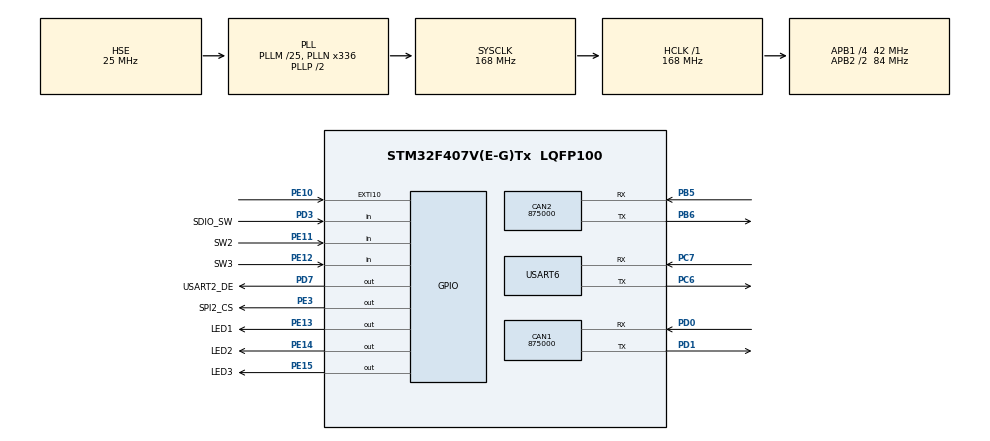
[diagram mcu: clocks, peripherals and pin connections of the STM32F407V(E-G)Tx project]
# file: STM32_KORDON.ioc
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CAN1.CalculateBaudRate=875000
CAN1.CalculateTimeBit=1142
CAN1.CalculateTimeQuantum=380.95238095238096
CAN2.CalculateBaudRate=875000
CAN2.CalculateTimeBit=1142
CAN2.CalculateTimeQuantum=380.95238095238096
Mcu.Family=STM32F4
Mcu.Name=STM32F407V(E-G)Tx
Mcu.Package=LQFP100
NVIC.EXTI15_10_IRQn=true\:0\:0\:false\:false\:true\:true\:true\:true
NVIC.PriorityGroup=NVIC_PRIORITYGROUP_4
NVIC.USART6_IRQn=true\:0\:0\:false\:false\:true\:true\:true\:true
PA10.Signal=USART1_RX
PA11.Signal=USB_OTG_FS_DM
PA12.Signal=USB_OTG_FS_DP
PA13.Mode=Serial_Wire
PA13.Signal=SYS_JTMS-SWDIO
PA14.Mode=Serial_Wire
PA14.Signal=SYS_JTCK-SWCLK
PA9.Signal=USART1_TX
PB10.Signal=SPI2_SCK
PB14.Signal=USB_OTG_HS_DM
PB15.Signal=USB_OTG_HS_DP
PB5.Mode=CAN_Activate
PB5.Signal=CAN2_RX
PB6.Mode=CAN_Activate
PB6.Signal=CAN2_TX
PB8.Signal=I2C1_SCL
PB9.Signal=I2C1_SDA
PC10.Signal=SDIO_D2
PC11.Signal=SDIO_D3
PC12.Signal=SDIO_CK
PC2.Signal=SPI2_MISO
PC3.Signal=SPI2_MOSI
PC6.Mode=Asynchronous
PC6.Signal=USART6_TX
PC7.Mode=Asynchronous
PC7.Signal=USART6_RX
PC8.Signal=SDIO_D0
PC9.Signal=SDIO_D1
PD0.Mode=CAN_Activate
PD0.Signal=CAN1_RX
PD1.Mode=CAN_Activate
PD1.Signal=CAN1_TX
PD2.Signal=SDIO_CMD
PD3.GPIO_Label=SDIO_SW
PD3.Signal=GPIO_Input
PD5.Signal=USART2_TX
PD6.Signal=USART2_RX
PD7.GPIO_Label=USART2_DE
PD7.Signal=GPIO_Output
PE10.GPIO_ModeDefaultEXTI=GPIO_MODE_IT_FALLING
PE10.Signal=GPXTI10
PE11.GPIO_Label=SW2
PE11.Signal=GPIO_Input
PE12.GPIO_Label=SW3
PE12.Signal=GPIO_Input
PE13.GPIO_Label=LED1
PE13.PinState=GPIO_PIN_SET
PE13.Signal=GPIO_Output
PE14.GPIO_Label=LED2
PE14.PinState=GPIO_PIN_SET
PE14.Signal=GPIO_Output
PE15.GPIO_Label=LED3
PE15.PinState=GPIO_PIN_SET
PE15.Signal=GPIO_Output
PE3.GPIO_Label=SPI2_CS
PE3.Signal=GPIO_Output
PH0-OSC_IN.Mode=HSE-External-Oscillator
PH0-OSC_IN.Signal=RCC_OSC_IN
PH1-OSC_OUT.Mode=HSE-External-Oscillator
PH1-OSC_OUT.Signal=RCC_OSC_OUT
ProjectManager.HeapSize=0x200
ProjectManager.StackSize=0x400
ProjectManager.TargetToolchain=STM32CubeIDE
RCC.48MHZClocksFreq_Value=48000000
RCC.AHBFreq_Value=168000000
RCC.APB1CLKDivider=RCC_HCLK_DIV4
RCC.APB1Freq_Value=42000000
RCC.APB1TimFreq_Value=84000000
RCC.APB2CLKDivider=RCC_HCLK_DIV2
RCC.APB2Freq_Value=84000000
RCC.APB2TimFreq_Value=168000000
RCC.CortexFreq_Value=168000000
RCC.HCLKFreq_Value=168000000
RCC.HSE_VALUE=25000000
RCC.HSI_VALUE=16000000
RCC.LSE_VALUE=32768
RCC.PLLM=25
RCC.PLLN=336
RCC.PLLQ=7
RCC.PLLSourceVirtual=RCC_PLLSOURCE_HSE
RCC.SYSCLKFreq_VALUE=168000000
RCC.SYSCLKSource=RCC_SYSCLKSOURCE_PLLCLK
RCC.VCOOutputFreq_Value=336000000
USART6.VirtualMode=VM_ASYNC
board=custom

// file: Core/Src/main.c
/* USER CODE BEGIN Header */
/**
  ******************************************************************************
  * @file           : main.c
  * @brief          : Main program body
  ******************************************************************************
  * @attention
  *
  * Copyright (c) 2026 STMicroelectronics.
  * All rights reserved.
  *
  * This software is licensed under terms that can be found in the LICENSE file
  * in the root directory of this software component.
  * If no LICENSE file comes with this software, it is provided AS-IS.
  *
  ******************************************************************************
  */
/* USER CODE END Header */
#include "main.h"

/* USER CODE BEGIN Includes */

#include <stdio.h>

/* USER CODE END Includes */

CAN_HandleTypeDef hcan1;
CAN_HandleTypeDef hcan2;

UART_HandleTypeDef huart6;

/* USER CODE BEGIN PV */

uint8_t incoming_data;

/* USER CODE END PV */

void SystemClock_Config(void);
static void MX_GPIO_Init(void);
static void MX_CAN1_Init(void);
static void MX_CAN2_Init(void);
static void MX_USART6_UART_Init(void);

int main(void)
{

  /* MCU Configuration--------------------------------------------------------*/

  /* Reset of all peripherals, Initializes the Flash interface and the Systick. */
  HAL_Init();

  /* Configure the system clock */
  SystemClock_Config();

  /* Initialize all configured peripherals */
  MX_GPIO_Init();
  MX_CAN1_Init();
  MX_CAN2_Init();
  MX_USART6_UART_Init();
  /* USER CODE BEGIN 2 */

 HAL_UART_Receive_IT(&huart6, &incoming_data, 1);

  /* USER CODE END 2 */

  /* Infinite loop */
  while (1)
  {

  }
}

void SystemClock_Config(void)
{
  RCC_OscInitTypeDef RCC_OscInitStruct = {0};
  RCC_ClkInitTypeDef RCC_ClkInitStruct = {0};

  /** Configure the main internal regulator output voltage
  */
  __HAL_RCC_PWR_CLK_ENABLE();
  __HAL_PWR_VOLTAGESCALING_CONFIG(PWR_REGULATOR_VOLTAGE_SCALE1);

  /** Initializes the RCC Oscillators according to the specified parameters
  * in the RCC_OscInitTypeDef structure.
  */
  RCC_OscInitStruct.OscillatorType = RCC_OSCILLATORTYPE_HSE;
  RCC_OscInitStruct.HSEState = RCC_HSE_ON;
  RCC_OscInitStruct.PLL.PLLState = RCC_PLL_ON;
  RCC_OscInitStruct.PLL.PLLSource = RCC_PLLSOURCE_HSE;
  RCC_OscInitStruct.PLL.PLLM = 25;
  RCC_OscInitStruct.PLL.PLLN = 336;
  RCC_OscInitStruct.PLL.PLLP = RCC_PLLP_DIV2;
  RCC_OscInitStruct.PLL.PLLQ = 7;
  if (HAL_RCC_OscConfig(&RCC_OscInitStruct) != HAL_OK)
  {
    Error_Handler();
  }

  /** Initializes the CPU, AHB and APB buses clocks
  */
  RCC_ClkInitStruct.ClockType = RCC_CLOCKTYPE_HCLK|RCC_CLOCKTYPE_SYSCLK
                              |RCC_CLOCKTYPE_PCLK1|RCC_CLOCKTYPE_PCLK2;
  RCC_ClkInitStruct.SYSCLKSource = RCC_SYSCLKSOURCE_PLLCLK;
  RCC_ClkInitStruct.AHBCLKDivider = RCC_SYSCLK_DIV1;
  RCC_ClkInitStruct.APB1CLKDivider = RCC_HCLK_DIV4;
  RCC_ClkInitStruct.APB2CLKDivider = RCC_HCLK_DIV2;

  if (HAL_RCC_ClockConfig(&RCC_ClkInitStruct, FLASH_LATENCY_5) != HAL_OK)
  {
    Error_Handler();
  }
}

static void MX_CAN1_Init(void)
{

  hcan1.Instance = CAN1;
  hcan1.Init.Prescaler = 16;
  hcan1.Init.Mode = CAN_MODE_NORMAL;
  hcan1.Init.SyncJumpWidth = CAN_SJW_1TQ;
  hcan1.Init.TimeSeg1 = CAN_BS1_1TQ;
  hcan1.Init.TimeSeg2 = CAN_BS2_1TQ;
  hcan1.Init.TimeTriggeredMode = DISABLE;
  hcan1.Init.AutoBusOff = DISABLE;
  hcan1.Init.AutoWakeUp = DISABLE;
  hcan1.Init.AutoRetransmission = DISABLE;
  hcan1.Init.ReceiveFifoLocked = DISABLE;
  hcan1.Init.TransmitFifoPriority = DISABLE;
  if (HAL_CAN_Init(&hcan1) != HAL_OK)
  {
    Error_Handler();
  }

}

static void MX_CAN2_Init(void)
{

  hcan2.Instance = CAN2;
  hcan2.Init.Prescaler = 16;
  hcan2.Init.Mode = CAN_MODE_NORMAL;
  hcan2.Init.SyncJumpWidth = CAN_SJW_1TQ;
  hcan2.Init.TimeSeg1 = CAN_BS1_1TQ;
  hcan2.Init.TimeSeg2 = CAN_BS2_1TQ;
  hcan2.Init.TimeTriggeredMode = DISABLE;
  hcan2.Init.AutoBusOff = DISABLE;
  hcan2.Init.AutoWakeUp = DISABLE;
  hcan2.Init.AutoRetransmission = DISABLE;
  hcan2.Init.ReceiveFifoLocked = DISABLE;
  hcan2.Init.TransmitFifoPriority = DISABLE;
  if (HAL_CAN_Init(&hcan2) != HAL_OK)
  {
    Error_Handler();
  }

}

static void MX_USART6_UART_Init(void)
{

  huart6.Instance = USART6;
  huart6.Init.BaudRate = 115200;
  huart6.Init.WordLength = UART_WORDLENGTH_8B;
  huart6.Init.StopBits = UART_STOPBITS_1;
  huart6.Init.Parity = UART_PARITY_NONE;
  huart6.Init.Mode = UART_MODE_TX_RX;
  huart6.Init.HwFlowCtl = UART_HWCONTROL_NONE;
  huart6.Init.OverSampling = UART_OVERSAMPLING_16;
  if (HAL_UART_Init(&huart6) != HAL_OK)
  {
    Error_Handler();
  }

}

static void MX_GPIO_Init(void)
{
  GPIO_InitTypeDef GPIO_InitStruct = {0};

  /* GPIO Ports Clock Enable */
  __HAL_RCC_GPIOE_CLK_ENABLE();
  __HAL_RCC_GPIOH_CLK_ENABLE();
  __HAL_RCC_GPIOC_CLK_ENABLE();
  __HAL_RCC_GPIOB_CLK_ENABLE();
  __HAL_RCC_GPIOA_CLK_ENABLE();
  __HAL_RCC_GPIOD_CLK_ENABLE();

  /*Configure GPIO pin Output Level */
  HAL_GPIO_WritePin(SPI2_CS_GPIO_Port, SPI2_CS_Pin, GPIO_PIN_RESET);

  /*Configure GPIO pin Output Level */
  HAL_GPIO_WritePin(GPIOE, LED1_Pin|LED2_Pin|LED3_Pin, GPIO_PIN_SET);

  /*Configure GPIO pin Output Level */
  HAL_GPIO_WritePin(USART2_DE_GPIO_Port, USART2_DE_Pin, GPIO_PIN_RESET);

  /*Configure GPIO pins : SPI2_CS_Pin LED1_Pin LED2_Pin LED3_Pin */
  GPIO_InitStruct.Pin = SPI2_CS_Pin|LED1_Pin|LED2_Pin|LED3_Pin;
  GPIO_InitStruct.Mode = GPIO_MODE_OUTPUT_PP;
  GPIO_InitStruct.Pull = GPIO_NOPULL;
  GPIO_InitStruct.Speed = GPIO_SPEED_FREQ_LOW;
  HAL_GPIO_Init(GPIOE, &GPIO_InitStruct);

  /*Configure GPIO pins : PC2 PC3 */
  GPIO_InitStruct.Pin = GPIO_PIN_2|GPIO_PIN_3;
  GPIO_InitStruct.Mode = GPIO_MODE_AF_PP;
  GPIO_InitStruct.Pull = GPIO_NOPULL;
  GPIO_InitStruct.Speed = GPIO_SPEED_FREQ_VERY_HIGH;
  GPIO_InitStruct.Alternate = GPIO_AF5_SPI2;
  HAL_GPIO_Init(GPIOC, &GPIO_InitStruct);

  /*Configure GPIO pin : PE10 */
  GPIO_InitStruct.Pin = GPIO_PIN_10;
  GPIO_InitStruct.Mode = GPIO_MODE_IT_FALLING;
  GPIO_InitStruct.Pull = GPIO_NOPULL;
  HAL_GPIO_Init(GPIOE, &GPIO_InitStruct);

  /*Configure GPIO pins : SW2_Pin SW3_Pin */
  GPIO_InitStruct.Pin = SW2_Pin|SW3_Pin;
  GPIO_InitStruct.Mode = GPIO_MODE_INPUT;
  GPIO_InitStruct.Pull = GPIO_NOPULL;
  HAL_GPIO_Init(GPIOE, &GPIO_InitStruct);

  /*Configure GPIO pin : PB10 */
  GPIO_InitStruct.Pin = GPIO_PIN_10;
  GPIO_InitStruct.Mode = GPIO_MODE_AF_PP;
  GPIO_InitStruct.Pull = GPIO_NOPULL;
  GPIO_InitStruct.Speed = GPIO_SPEED_FREQ_VERY_HIGH;
  GPIO_InitStruct.Alternate = GPIO_AF5_SPI2;
  HAL_GPIO_Init(GPIOB, &GPIO_InitStruct);

  /*Configure GPIO pins : PB14 PB15 */
  GPIO_InitStruct.Pin = GPIO_PIN_14|GPIO_PIN_15;
  GPIO_InitStruct.Mode = GPIO_MODE_AF_PP;
  GPIO_InitStruct.Pull = GPIO_NOPULL;
  GPIO_InitStruct.Speed = GPIO_SPEED_FREQ_VERY_HIGH;
  GPIO_InitStruct.Alternate = GPIO_AF12_OTG_HS_FS;
  HAL_GPIO_Init(GPIOB, &GPIO_InitStruct);

  /*Configure GPIO pins : PC8 PC9 PC10 PC11
                           PC12 */
  GPIO_InitStruct.Pin = GPIO_PIN_8|GPIO_PIN_9|GPIO_PIN_10|GPIO_PIN_11
                          |GPIO_PIN_12;
  GPIO_InitStruct.Mode = GPIO_MODE_AF_PP;
  GPIO_InitStruct.Pull = GPIO_NOPULL;
  GPIO_InitStruct.Speed = GPIO_SPEED_FREQ_VERY_HIGH;
  GPIO_InitStruct.Alternate = GPIO_AF12_SDIO;
  HAL_GPIO_Init(GPIOC, &GPIO_InitStruct);

  /*Configure GPIO pins : PA9 PA10 */
  GPIO_InitStruct.Pin = GPIO_PIN_9|GPIO_PIN_10;
  GPIO_InitStruct.Mode = GPIO_MODE_AF_PP;
  GPIO_InitStruct.Pull = GPIO_NOPULL;
  GPIO_InitStruct.Speed = GPIO_SPEED_FREQ_VERY_HIGH;
  GPIO_InitStruct.Alternate = GPIO_AF7_USART1;
  HAL_GPIO_Init(GPIOA, &GPIO_InitStruct);

  /*Configure GPIO pins : PA11 PA12 */
  GPIO_InitStruct.Pin = GPIO_PIN_11|GPIO_PIN_12;
  GPIO_InitStruct.Mode = GPIO_MODE_AF_PP;
  GPIO_InitStruct.Pull = GPIO_NOPULL;
  GPIO_InitStruct.Speed = GPIO_SPEED_FREQ_VERY_HIGH;
  GPIO_InitStruct.Alternate = GPIO_AF10_OTG_FS;
  HAL_GPIO_Init(GPIOA, &GPIO_InitStruct);

  /*Configure GPIO pin : PD2 */
  GPIO_InitStruct.Pin = GPIO_PIN_2;
  GPIO_InitStruct.Mode = GPIO_MODE_AF_PP;
  GPIO_InitStruct.Pull = GPIO_NOPULL;
  GPIO_InitStruct.Speed = GPIO_SPEED_FREQ_VERY_HIGH;
  GPIO_InitStruct.Alternate = GPIO_AF12_SDIO;
  HAL_GPIO_Init(GPIOD, &GPIO_InitStruct);

  /*Configure GPIO pin : SDIO_SW_Pin */
  GPIO_InitStruct.Pin = SDIO_SW_Pin;
  GPIO_InitStruct.Mode = GPIO_MODE_INPUT;
  GPIO_InitStruct.Pull = GPIO_NOPULL;
  HAL_GPIO_Init(SDIO_SW_GPIO_Port, &GPIO_InitStruct);

  /*Configure GPIO pins : PD5 PD6 */
  GPIO_InitStruct.Pin = GPIO_PIN_5|GPIO_PIN_6;
  GPIO_InitStruct.Mode = GPIO_MODE_AF_PP;
  GPIO_InitStruct.Pull = GPIO_NOPULL;
  GPIO_InitStruct.Speed = GPIO_SPEED_FREQ_VERY_HIGH;
  GPIO_InitStruct.Alternate = GPIO_AF7_USART2;
  HAL_GPIO_Init(GPIOD, &GPIO_InitStruct);

  /*Configure GPIO pin : USART2_DE_Pin */
  GPIO_InitStruct.Pin = USART2_DE_Pin;
  GPIO_InitStruct.Mode = GPIO_MODE_OUTPUT_PP;
  GPIO_InitStruct.Pull = GPIO_NOPULL;
  GPIO_InitStruct.Speed = GPIO_SPEED_FREQ_LOW;
  HAL_GPIO_Init(USART2_DE_GPIO_Port, &GPIO_InitStruct);

  /*Configure GPIO pins : PB8 PB9 */
  GPIO_InitStruct.Pin = GPIO_PIN_8|GPIO_PIN_9;
  GPIO_InitStruct.Mode = GPIO_MODE_AF_OD;
  GPIO_InitStruct.Pull = GPIO_NOPULL;
  GPIO_InitStruct.Speed = GPIO_SPEED_FREQ_VERY_HIGH;
  GPIO_InitStruct.Alternate = GPIO_AF4_I2C1;
  HAL_GPIO_Init(GPIOB, &GPIO_InitStruct);

  /* EXTI interrupt init*/
  HAL_NVIC_SetPriority(EXTI15_10_IRQn, 0, 0);
  HAL_NVIC_EnableIRQ(EXTI15_10_IRQn);

}

/* USER CODE BEGIN 4 */

int _write(int file, char *ptr, int len){

	HAL_UART_Transmit(&huart6, (uint8_t*)ptr, len, HAL_MAX_DELAY);
	return len;

}
void HAL_UART_RxCpltCallback(UART_HandleTypeDef *huart){

	if (huart -> Instance == USART6){
		if (incoming_data == '1'){
			HAL_GPIO_WritePin(GPIOE, GPIO_PIN_13, GPIO_PIN_RESET);
			printf("Interrupt:Led is On\r\n");
		}
		else if (incoming_data == '0'){
			HAL_GPIO_WritePin(GPIOE, GPIO_PIN_13, GPIO_PIN_SET);
			printf("Interrupt:Led is Off\r\n");
		}
		HAL_UART_Receive_IT(&huart6, &incoming_data, 1);
	}
}

void HAL_GPIO_EXTI_Callback(uint16_t GPIO_Pin){
	static uint32_t last_interrupt_time = 0;
	uint32_t interrupt_time = HAL_GetTick();

	if ((interrupt_time - last_interrupt_time) > 200){

		if(GPIO_Pin == GPIO_PIN_10)
			printf("Button on PE10 was Pressed!\r\n");

		last_interrupt_time = interrupt_time;
	}
}

/* USER CODE END 4 */

void Error_Handler(void)
{
  __disable_irq();
  while (1)
  {
  }
}
